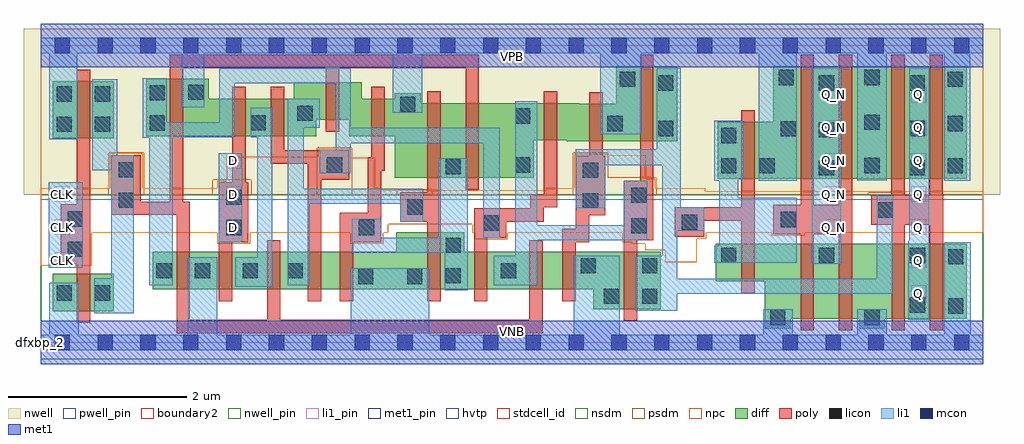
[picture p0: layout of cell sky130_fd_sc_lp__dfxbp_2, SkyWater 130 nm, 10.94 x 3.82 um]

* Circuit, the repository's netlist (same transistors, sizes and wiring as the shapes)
* Copyright 2020 The SkyWater PDK Authors
*
* Licensed under the Apache License, Version 2.0 (the "License");
* you may not use this file except in compliance with the License.
* You may obtain a copy of the License at
*
*     https://www.apache.org/licenses/LICENSE-2.0
*
* Unless required by applicable law or agreed to in writing, software
* distributed under the License is distributed on an "AS IS" BASIS,
* WITHOUT WARRANTIES OR CONDITIONS OF ANY KIND, either express or implied.
* See the License for the specific language governing permissions and
* limitations under the License.
*
* SPDX-License-Identifier: Apache-2.0

.SUBCKT sky130_fd_sc_lp__dfxbp_2 CLK D VGND VNB VPB VPWR Q Q_N
*.PININFO CLK:I D:I VGND:I VNB:I VPB:I VPWR:I Q:O Q_N:O
MI657 M0 clkpos net72 VNB sky130_fd_pr__nfet_01v8 m=1 w=0.42U l=0.15U mult=1 sa=0.265
+ sb=0.265 sd=0.28 area=0.063 perim=1.14
MI656 net72 M1 VGND VNB sky130_fd_pr__nfet_01v8 m=1 w=0.42U l=0.15U mult=1 sa=0.265
+ sb=0.265 sd=0.28 area=0.063 perim=1.14
MI646 Q S1 VGND VNB sky130_fd_pr__nfet_01v8 m=2 w=0.84U l=0.15U mult=1 sa=0.265
+ sb=0.265 sd=0.28 area=0.063 perim=1.14
MI662 net116 S1 VGND VNB sky130_fd_pr__nfet_01v8 m=1 w=0.42U l=0.15U mult=1 sa=0.265
+ sb=0.265 sd=0.28 area=0.063 perim=1.14
MI648 db clkneg M0 VNB sky130_fd_pr__nfet_01v8 m=1 w=0.42U l=0.15U mult=1 sa=0.265
+ sb=0.265 sd=0.28 area=0.063 perim=1.14
MI654 db D VGND VNB sky130_fd_pr__nfet_01v8 m=1 w=0.42U l=0.15U mult=1 sa=0.265
+ sb=0.265 sd=0.28 area=0.063 perim=1.14
MI642 S0 clkneg net48 VNB sky130_fd_pr__nfet_01v8 m=1 w=0.42U l=0.15U mult=1 sa=0.265
+ sb=0.265 sd=0.28 area=0.063 perim=1.14
MI641 net48 S1 VGND VNB sky130_fd_pr__nfet_01v8 m=1 w=0.42U l=0.15U mult=1 sa=0.265
+ sb=0.265 sd=0.28 area=0.063 perim=1.14
MI661 Q_N net116 VGND VNB sky130_fd_pr__nfet_01v8 m=2 w=0.84U l=0.15U mult=1 sa=0.265
+ sb=0.265 sd=0.28 area=0.063 perim=1.14
MI652 M1 clkpos S0 VNB sky130_fd_pr__nfet_01v8 m=1 w=0.42U l=0.15U mult=1 sa=0.265
+ sb=0.265 sd=0.28 area=0.063 perim=1.14
MI649 S1 S0 VGND VNB sky130_fd_pr__nfet_01v8 m=1 w=0.64U l=0.15U mult=1 sa=0.265
+ sb=0.265 sd=0.28 area=0.063 perim=1.14
MI635 clkneg CLK VGND VNB sky130_fd_pr__nfet_01v8 m=1 w=0.42U l=0.15U mult=1 sa=0.265
+ sb=0.265 sd=0.28 area=0.063 perim=1.14
MI636 clkpos clkneg VGND VNB sky130_fd_pr__nfet_01v8 m=1 w=0.42U l=0.15U mult=1
+ sa=0.265 sb=0.265 sd=0.28 area=0.063 perim=1.14
MI634 M1 M0 VGND VNB sky130_fd_pr__nfet_01v8 m=1 w=0.64U l=0.15U mult=1 sa=0.265
+ sb=0.265 sd=0.28 area=0.063 perim=1.14
MI659 M0 clkneg net100 VPB sky130_fd_pr__pfet_01v8_hvt m=1 w=0.42U l=0.15U mult=1
+ sa=0.265 sb=0.265 sd=0.28 area=0.063 perim=1.14
MI660 Q_N net116 VPWR VPB sky130_fd_pr__pfet_01v8_hvt m=2 w=1.26U l=0.15U mult=1
+ sa=0.265 sb=0.265 sd=0.28 area=0.063 perim=1.14
MI650 S1 S0 VPWR VPB sky130_fd_pr__pfet_01v8_hvt m=1 w=0.84U l=0.15U mult=1 sa=0.265
+ sb=0.265 sd=0.28 area=0.063 perim=1.14
MI644 S0 clkpos net119 VPB sky130_fd_pr__pfet_01v8_hvt m=1 w=0.42U l=0.15U mult=1
+ sa=0.265 sb=0.265 sd=0.28 area=0.063 perim=1.14
MI647 net116 S1 VPWR VPB sky130_fd_pr__pfet_01v8_hvt m=1 w=0.64U l=0.15U mult=1
+ sa=0.265 sb=0.265 sd=0.28 area=0.063 perim=1.14
MI639 M1 M0 VPWR VPB sky130_fd_pr__pfet_01v8_hvt m=1 w=0.84U l=0.15U mult=1 sa=0.265
+ sb=0.265 sd=0.28 area=0.063 perim=1.14
MI643 net119 S1 VPWR VPB sky130_fd_pr__pfet_01v8_hvt m=1 w=0.42U l=0.15U mult=1
+ sa=0.265 sb=0.265 sd=0.28 area=0.063 perim=1.14
MI638 clkneg CLK VPWR VPB sky130_fd_pr__pfet_01v8_hvt m=1 w=0.64U l=0.15U mult=1
+ sa=0.265 sb=0.265 sd=0.28 area=0.063 perim=1.14
MI658 net100 M1 VPWR VPB sky130_fd_pr__pfet_01v8_hvt m=1 w=0.42U l=0.15U mult=1
+ sa=0.265 sb=0.265 sd=0.28 area=0.063 perim=1.14
MI645 Q S1 VPWR VPB sky130_fd_pr__pfet_01v8_hvt m=2 w=1.26U l=0.15U mult=1 sa=0.265
+ sb=0.265 sd=0.28 area=0.063 perim=1.14
MI651 db clkpos M0 VPB sky130_fd_pr__pfet_01v8_hvt m=1 w=0.42U l=0.15U mult=1 sa=0.265
+ sb=0.265 sd=0.28 area=0.063 perim=1.14
MI655 db D VPWR VPB sky130_fd_pr__pfet_01v8_hvt m=1 w=0.42U l=0.15U mult=1 sa=0.265
+ sb=0.265 sd=0.28 area=0.063 perim=1.14
MI653 M1 clkneg S0 VPB sky130_fd_pr__pfet_01v8_hvt m=1 w=0.84U l=0.15U mult=1 sa=0.265
+ sb=0.265 sd=0.28 area=0.063 perim=1.14
MI637 clkpos clkneg VPWR VPB sky130_fd_pr__pfet_01v8_hvt m=1 w=0.64U l=0.15U mult=1
+ sa=0.265 sb=0.265 sd=0.28 area=0.063 perim=1.14
.ENDS sky130_fd_sc_lp__dfxbp_2

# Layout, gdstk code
import gdstk
lib = gdstk.Library(unit=1e-6, precision=1e-09)
def R(c, l, rs):  # rectangles x0, y0, x1, y1
    for r in rs: c.add(gdstk.rectangle(r[:2], r[2:], *l))
def A(c, l, x, y, w, h, nx, ny, dx, dy):  # array of equal rectangles
    R(c, l, [(x+i*dx, y+j*dy, x+i*dx+w, y+j*dy+h) for i in range(nx) for j in range(ny)])
def P(c, l, *ps):  # polygons
    for p in ps: c.add(gdstk.Polygon(p, *l))
nwell_pin = (64, 16)
nwell = (64, 20)
diff = (65, 20)
poly = (66, 20)
licon = (66, 44)
li1_pin = (67, 16)
li1 = (67, 20)
mcon = (67, 44)
met1_pin = (68, 16)
met1 = (68, 20)
hvtp = (78, 44)
stdcell_id = (81, 4)
nsdm = (93, 44)
psdm = (94, 20)
npc = (95, 20)
pwell_pin = (122, 16)
boundary2 = (236, 0)

sky130_fd_sc_lp__dfxbp_2 = lib.new_cell('sky130_fd_sc_lp__dfxbp_2')
R(sky130_fd_sc_lp__dfxbp_2, nwell_pin, [(0,3.085,10.56,3.33)])
R(sky130_fd_sc_lp__dfxbp_2, nwell, [(-0.19,1.655,10.75,3.52)])
R(sky130_fd_sc_lp__dfxbp_2, diff, [(0.135,0.35,0.815,0.77), (0.135,2.29,0.815,2.93)])
P(sky130_fd_sc_lp__dfxbp_2, diff, [(6.95,1.015),(4.745,1.015),(4.745,1.235),(3.985,1.235),(3.985,1.015),(1.255,1.015),(1.255,0.595),(6.19,0.595),(6.19,0.375),(6.95,0.375)],
  [(7.13,3.095),(6.45,3.095),(6.45,2.675),(6.035,2.675),(6.035,2.685),(4.255,2.685),(4.255,2.795),(3.965,2.795),(3.965,2.735),(3.595,2.735),(3.595,2.915),(2.835,2.915),(2.835,2.735),(1.88,2.735),(1.88,2.955),(1.18,2.955),(1.18,2.315),(3.085,2.315),(3.085,2.495),(3.455,2.495),(3.455,2.315),(3.965,2.315),(3.965,1.845),(5.525,1.845),(5.525,2.265),(5.895,2.265),(5.895,2.255),(7.13,2.255)],
  [(10.375,3.095),(8.21,3.095),(8.21,2.475),(7.585,2.475),(7.585,1.835),(10.375,1.835)],
  [(10.38,1.105),(7.565,1.105),(7.565,0.685),(8.115,0.685),(8.115,0.155),(8.405,0.155),(8.405,0.265),(9.17,0.265),(9.17,0.155),(9.46,0.155),(9.46,0.265),(10.38,0.265)])
P(sky130_fd_sc_lp__dfxbp_2, poly, [(0.55,3.06),(0.4,3.06),(0.4,1.55),(0.22,1.55),(0.22,0.88),(0.4,0.88),(0.4,0.22),(0.55,0.22)],
  [(5.785,2.815),(5.635,2.815),(5.635,1.665),(5.485,1.665),(5.485,1.505),(4.855,1.505),(4.855,0.465),(5.005,0.465),(5.005,1.175),(5.215,1.175),(5.215,1.355),(5.635,1.355),(5.635,1.515),(5.785,1.515)],
  [(8,2.605),(7.85,2.605),(7.85,1.515),(7.105,1.515),(7.105,1.185),(7.435,1.185),(7.435,1.365),(7.85,1.365),(7.85,0.555),(8,0.555)],
  [(9.095,3.225),(8.945,3.225),(8.945,1.545),(8.665,1.545),(8.665,3.225),(8.515,3.225),(8.515,1.545),(8.21,1.545),(8.21,1.215),(8.515,1.215),(8.515,0.135),(8.665,0.135),(8.665,1.215),(8.945,1.215),(8.945,0.135),(9.095,0.135)],
  [(2.325,1.795),(2.295,1.795),(2.295,2.865),(2.145,2.865),(2.145,1.795),(1.995,1.795),(1.995,0.465),(2.145,0.465),(2.145,1.125),(2.325,1.125)],
  [(6.865,3.225),(6.715,3.225),(6.715,1.815),(6.535,1.815),(6.535,0.245),(6.685,0.245),(6.685,1.145),(6.865,1.145)],
  [(3.455,2.155),(2.725,2.155),(2.725,2.865),(2.575,2.865),(2.575,2.005),(2.99,2.005),(2.99,0.465),(3.14,0.465),(3.14,1.825),(3.455,1.825)],
  [(3.855,2.865),(3.705,2.865),(3.705,2.075),(3.665,2.075),(3.665,1.455),(3.35,1.455),(3.35,0.465),(3.5,0.465),(3.5,1.125),(3.815,1.125),(3.815,1.925),(3.855,1.925)],
  [(4.48,2.815),(4.33,2.815),(4.33,1.685),(4.025,1.685),(4.025,1.355),(4.33,1.355),(4.33,0.465),(4.48,0.465)],
  [(5.625,1.145),(5.475,1.145),(5.475,0.255),(2.685,0.255),(2.685,1.145),(2.535,1.145),(2.535,0.255),(1.67,0.255),(1.67,1.58),(1.595,1.58),(1.595,3.075),(3.195,3.075),(3.195,2.365),(3.345,2.365),(3.345,3.075),(4.76,3.075),(4.76,1.715),(4.91,1.715),(4.91,3.225),(1.445,3.225),(1.445,1.58),(1.12,1.58),(1.12,2.1),(0.79,2.1),(0.79,1.43),(1.52,1.43),(1.52,0.105),(5.625,0.105)],
  [(10.115,1.65),(10.11,1.65),(10.11,3.225),(9.96,3.225),(9.96,1.65),(9.68,1.65),(9.68,3.225),(9.53,3.225),(9.53,1.65),(9.305,1.65),(9.305,1.32),(9.535,1.32),(9.535,0.135),(9.685,0.135),(9.685,1.32),(9.965,1.32),(9.965,0.135),(10.115,0.135)],
  [(6.325,2.095),(6.295,2.095),(6.295,2.805),(6.145,2.805),(6.145,2.095),(5.995,2.095),(5.995,1.275),(5.845,1.275),(5.845,0.465),(5.995,0.465),(5.995,1.125),(6.145,1.125),(6.145,1.425),(6.325,1.425)])
R(sky130_fd_sc_lp__dfxbp_2, licon, [(8.175,0.195,8.345,0.365), (9.23,0.195,9.4,0.365), (10.17,0.325,10.34,0.495), (9.74,0.335,9.91,0.505), (6.31,0.435,6.48,0.605), (6.74,0.435,6.91,0.605), (0.175,0.47,0.345,0.64), (0.605,0.47,0.775,0.64), (3.555,0.655,3.725,0.825), (4.105,0.655,4.275,0.825), (4.535,0.665,4.705,0.835), (1.295,0.72,1.465,0.89), (1.725,0.72,1.895,0.89), (2.26,0.72,2.43,0.89), (2.765,0.72,2.935,0.89), (5.155,0.72,5.325,0.89), (6.05,0.775,6.22,0.945), (6.74,0.775,6.91,0.945), (10.17,0.875,10.34,1.045), (9.74,0.89,9.91,1.06), (7.625,0.895,7.795,1.065), (8.72,0.895,8.89,1.065), (0.3,0.96,0.47,1.13), (4.535,1.005,4.705,1.175), (2.075,1.205,2.245,1.375), (3.565,1.205,3.735,1.375), (6.615,1.225,6.785,1.395), (4.965,1.255,5.135,1.425), (7.185,1.265,7.355,1.435), (8.29,1.295,8.46,1.465), (0.3,1.3,0.47,1.47), (9.385,1.4,9.555,1.57), (4.105,1.435,4.275,1.605), (6.075,1.505,6.245,1.675), (0.87,1.51,1.04,1.68), (2.075,1.545,2.245,1.715), (6.615,1.565,6.785,1.735), (6.075,1.845,6.245,2.015), (0.87,1.85,1.04,2.02), (8.72,1.875,8.89,2.045), (9.735,1.875,9.905,2.045), (4.535,1.885,4.705,2.055), (7.625,1.895,7.795,2.065), (8.055,1.895,8.225,2.065), (10.165,1.895,10.335,2.065), (9.23,1.9,9.4,2.07), (3.205,1.905,3.375,2.075), (5.315,1.905,5.485,2.075), (7.625,2.235,7.795,2.405), (8.72,2.3,8.89,2.47), (8.29,2.31,8.46,2.48), (6.92,2.315,7.09,2.485), (9.735,2.315,9.905,2.485), (0.175,2.36,0.345,2.53), (0.605,2.36,0.775,2.53), (6.35,2.37,6.52,2.54), (10.165,2.37,10.335,2.54), (1.22,2.375,1.39,2.545), (2.35,2.38,2.52,2.55), (9.23,2.385,9.4,2.555), (5.315,2.455,5.485,2.625), (2.875,2.485,3.045,2.655), (4.025,2.585,4.195,2.755), (0.175,2.7,0.345,2.87), (0.605,2.7,0.775,2.87), (1.22,2.715,1.39,2.885), (1.65,2.72,1.82,2.89), (6.92,2.825,7.09,2.995), (8.72,2.825,8.89,2.995), (9.735,2.825,9.905,2.995), (6.49,2.865,6.66,3.035), (10.165,2.865,10.335,3.035), (8.27,2.885,8.44,3.055), (9.23,2.885,9.4,3.055)])
A(sky130_fd_sc_lp__dfxbp_2, li1_pin, 9.755, 0.47, 0.17, 0.17, 1, 7, 0, 0.37)
A(sky130_fd_sc_lp__dfxbp_2, li1_pin, 0.155, 0.84, 0.17, 0.17, 1, 3, 0, 0.37)
A(sky130_fd_sc_lp__dfxbp_2, li1_pin, 2.075, 1.21, 0.17, 0.17, 1, 3, 0, 0.37)
A(sky130_fd_sc_lp__dfxbp_2, li1_pin, 8.795, 1.21, 0.17, 0.17, 1, 5, 0, 0.37)
R(sky130_fd_sc_lp__dfxbp_2, li1, [(0.09,0.84,0.47,1.795), (8.64,0.885,8.97,3.075), (1.995,1.125,2.255,2.12)])
P(sky130_fd_sc_lp__dfxbp_2, li1, [(10.56,0.085),(10.42,0.085),(10.42,1.125),(10.125,1.125),(10.125,0.085),(9.48,0.085),(9.48,0.375),(9.15,0.375),(9.15,0.085),(8.425,0.085),(8.425,0.375),(8.095,0.375),(8.095,0.085),(6.49,0.085),(6.49,0.975),(5.97,0.975),(5.97,0.085),(4.355,0.085),(4.355,0.835),(3.475,0.835),(3.475,0.085),(1.975,0.085),(1.975,0.955),(1.645,0.955),(1.645,0.085),(0.425,0.085),(0.425,0.67),(0.095,0.67),(0.095,0.085),(0,0.085),(0,-0.085),(10.56,-0.085)],
  [(9.555,1.65),(9.37,1.65),(9.37,0.715),(7.135,0.715),(7.135,1.255),(7.435,1.255),(7.435,1.515),(7.17,1.515),(7.17,3.075),(6.9,3.075),(6.9,2.165),(5.995,2.165),(5.995,1.505),(6.325,1.505),(6.325,1.985),(6.965,1.985),(6.965,0.975),(6.66,0.975),(6.66,0.355),(7.135,0.355),(7.135,0.545),(9.54,0.545),(9.54,1.32),(9.555,1.32)],
  [(8.47,1.625),(7.815,1.625),(7.815,1.83),(7.875,1.83),(7.875,2.485),(7.545,2.485),(7.545,1.815),(7.605,1.815),(7.605,1.085),(7.545,1.085),(7.545,0.895),(8.47,0.895)],
  [(6.795,1.815),(6.535,1.815),(6.535,1.315),(5.565,1.315),(5.565,2.705),(5.315,2.705),(5.315,0.975),(5.075,0.975),(5.075,0.64),(5.565,0.64),(5.565,1.145),(6.795,1.145)],
  [(10.56,3.415),(0,3.415),(0,3.245),(0.095,3.245),(0.095,2.28),(0.405,2.28),(0.405,3.245),(1.58,3.245),(1.58,2.64),(1.83,2.64),(1.83,3.245),(3.945,3.245),(3.945,2.575),(4.275,2.575),(4.275,3.245),(6.27,3.245),(6.27,2.335),(6.73,2.335),(6.73,3.245),(8.045,3.245),(8.045,1.815),(8.47,1.815),(8.47,3.245),(9.15,3.245),(9.15,1.82),(9.48,1.82),(9.48,3.245),(10.125,3.245),(10.125,1.815),(10.415,1.815),(10.415,3.245),(10.56,3.245)],
  [(1.04,2.1),(0.855,2.1),(0.855,2.95),(0.575,2.95),(0.575,1.93),(0.79,1.93),(0.79,0.72),(0.595,0.72),(0.595,0.33),(1.04,0.33)],
  [(2.595,2.63),(2.35,2.63),(2.35,2.3),(2.425,2.3),(2.425,0.955),(2.18,0.955),(2.18,0.625),(2.595,0.625)],
  [(5.145,2.405),(3.475,2.405),(3.475,3.075),(2,3.075),(2,2.47),(1.41,2.47),(1.41,2.965),(1.14,2.965),(1.14,2.295),(1.215,2.295),(1.215,0.64),(1.475,0.64),(1.475,2.3),(2.17,2.3),(2.17,2.905),(3.305,2.905),(3.305,2.155),(3.125,2.155),(3.125,1.895),(3.475,1.895),(3.475,2.235),(4.955,2.235),(4.955,1.175),(5.145,1.175)],
  [(4.285,1.725),(2.945,1.725),(2.945,2.405),(3.125,2.405),(3.125,2.735),(2.765,2.735),(2.765,0.64),(3.015,0.64),(3.015,1.555),(4.025,1.555),(4.025,1.355),(4.285,1.355)],
  [(4.785,2.065),(4.455,2.065),(4.455,1.175),(3.815,1.175),(3.815,1.385),(3.485,1.385),(3.485,1.005),(4.525,1.005),(4.525,0.585),(4.785,0.585)],
  [(9.955,3.075),(9.735,3.075),(9.735,1.14),(9.72,1.14),(9.72,0.255),(9.955,0.255)])
A(sky130_fd_sc_lp__dfxbp_2, mcon, 0.155, -0.085, 0.17, 0.17, 22, 2, 0.48, 3.33)
R(sky130_fd_sc_lp__dfxbp_2, met1_pin, [(0,0,10.56,0.245), (0,3.085,10.56,3.33)])
R(sky130_fd_sc_lp__dfxbp_2, met1, [(0,-0.245,10.56,0.245), (0,3.085,10.56,3.575)])
R(sky130_fd_sc_lp__dfxbp_2, hvtp, [(0,1.6,10.56,3.33)])
R(sky130_fd_sc_lp__dfxbp_2, stdcell_id, [(0,0,10.56,3.33)])
R(sky130_fd_sc_lp__dfxbp_2, nsdm, [(0,-0.19,10.56,1.655)])
P(sky130_fd_sc_lp__dfxbp_2, psdm, [(10.56,3.52),(0,3.52),(0,1.655),(0.76,1.655),(0.76,2.13),(1.15,2.13),(1.15,1.655),(1.925,1.655),(1.925,1.825),(2.355,1.825),(2.355,1.655),(3.095,1.655),(3.095,2.185),(3.485,2.185),(3.485,1.655),(3.995,1.655),(3.995,1.715),(4.385,1.715),(4.385,1.655),(5.965,1.655),(5.965,2.125),(6.355,2.125),(6.355,1.845),(6.895,1.845),(6.895,1.655),(9.275,1.655),(9.275,1.68),(9.665,1.68),(9.665,1.655),(10.56,1.655)])
P(sky130_fd_sc_lp__dfxbp_2, npc, [(10.56,1.695),(7.445,1.695),(7.445,1.73),(6.885,1.73),(6.885,1.835),(6.78,1.835),(6.78,2.1),(6.345,2.1),(6.345,2.115),(5.975,2.115),(5.975,1.73),(5.665,1.73),(5.665,1.705),(3.825,1.705),(3.825,1.73),(3.74,1.73),(3.74,2.07),(3.475,2.07),(3.475,2.175),(3.105,2.175),(3.105,2.08),(2.08,2.08),(2.08,1.815),(1.975,1.815),(1.975,1.73),(1.14,1.73),(1.14,2.12),(0.77,2.12),(0.77,1.73),(0,1.73),(0,0.86),(0.57,0.86),(0.57,1.23),(1.975,1.23),(1.975,1.105),(2.345,1.105),(2.345,1.23),(3.465,1.23),(3.465,1.105),(3.835,1.105),(3.835,1.23),(3.895,1.23),(3.895,1.325),(4.835,1.325),(4.835,1.23),(4.865,1.23),(4.865,1.155),(5.235,1.155),(5.235,1.23),(6.515,1.23),(6.515,1.125),(6.62,1.125),(6.62,1.105),(6.775,1.105),(6.775,1.035),(7,1.035),(7,0.9),(7.35,0.9),(7.35,1.165),(7.455,1.165),(7.455,1.23),(8.19,1.23),(8.19,1.195),(8.56,1.195),(8.56,1.23),(10.56,1.23)])
R(sky130_fd_sc_lp__dfxbp_2, pwell_pin, [(0,0,10.56,0.245)])
R(sky130_fd_sc_lp__dfxbp_2, boundary2, [(0,0,10.56,3.33)])
sky130_fd_sc_lp__dfxbp_2.add(gdstk.Label('VNB', (5.28,0.123), layer=64, texttype=59))
sky130_fd_sc_lp__dfxbp_2.add(gdstk.Label('VPB', (5.28,3.208), layer=64, texttype=5))
sky130_fd_sc_lp__dfxbp_2.add(gdstk.Label('dfxbp_2', (0,0), layer=83, texttype=44))
sky130_fd_sc_lp__dfxbp_2.add(gdstk.Label('VPWR', (5.28,3.208), layer=68, texttype=5))
sky130_fd_sc_lp__dfxbp_2.add(gdstk.Label('VGND', (5.28,0.123), layer=68, texttype=5))
sky130_fd_sc_lp__dfxbp_2.add(gdstk.Label('Q_N', (8.88,1.295), layer=67, texttype=5))
sky130_fd_sc_lp__dfxbp_2.add(gdstk.Label('Q_N', (8.88,1.665), layer=67, texttype=5))
sky130_fd_sc_lp__dfxbp_2.add(gdstk.Label('Q_N', (8.88,2.035), layer=67, texttype=5))
sky130_fd_sc_lp__dfxbp_2.add(gdstk.Label('Q_N', (8.88,2.405), layer=67, texttype=5))
sky130_fd_sc_lp__dfxbp_2.add(gdstk.Label('Q_N', (8.88,2.775), layer=67, texttype=5))
sky130_fd_sc_lp__dfxbp_2.add(gdstk.Label('Q', (9.84,0.555), layer=67, texttype=5))
sky130_fd_sc_lp__dfxbp_2.add(gdstk.Label('Q', (9.84,0.925), layer=67, texttype=5))
sky130_fd_sc_lp__dfxbp_2.add(gdstk.Label('Q', (9.84,1.295), layer=67, texttype=5))
sky130_fd_sc_lp__dfxbp_2.add(gdstk.Label('Q', (9.84,1.665), layer=67, texttype=5))
sky130_fd_sc_lp__dfxbp_2.add(gdstk.Label('Q', (9.84,2.035), layer=67, texttype=5))
sky130_fd_sc_lp__dfxbp_2.add(gdstk.Label('Q', (9.84,2.405), layer=67, texttype=5))
sky130_fd_sc_lp__dfxbp_2.add(gdstk.Label('Q', (9.84,2.775), layer=67, texttype=5))
sky130_fd_sc_lp__dfxbp_2.add(gdstk.Label('CLK', (0.24,0.925), layer=67, texttype=5))
sky130_fd_sc_lp__dfxbp_2.add(gdstk.Label('CLK', (0.24,1.295), layer=67, texttype=5))
sky130_fd_sc_lp__dfxbp_2.add(gdstk.Label('CLK', (0.24,1.665), layer=67, texttype=5))
sky130_fd_sc_lp__dfxbp_2.add(gdstk.Label('D', (2.16,1.295), layer=67, texttype=5))
sky130_fd_sc_lp__dfxbp_2.add(gdstk.Label('D', (2.16,1.665), layer=67, texttype=5))
sky130_fd_sc_lp__dfxbp_2.add(gdstk.Label('D', (2.16,2.035), layer=67, texttype=5))

lib.write_gds('sky130_fd_sc_lp__dfxbp_2.gds')
